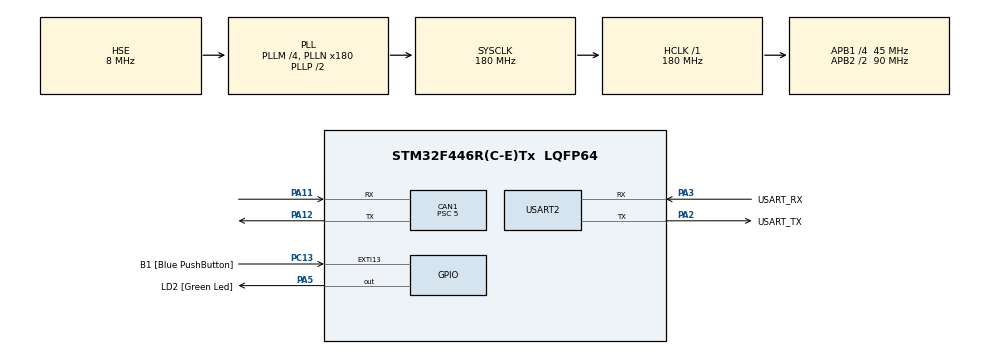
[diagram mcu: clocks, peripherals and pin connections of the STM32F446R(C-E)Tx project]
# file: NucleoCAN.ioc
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CAN1.BS1=CAN_BS1_7TQ
CAN1.CalculateTimeQuantum=111.11111111111111
CAN1.Prescaler=5
Mcu.Family=STM32F4
Mcu.Name=STM32F446R(C-E)Tx
Mcu.Package=LQFP64
NVIC.CAN1_RX0_IRQn=true\:0\:0\:false\:false\:true\:true\:true
NVIC.PriorityGroup=NVIC_PRIORITYGROUP_0
PA11.Mode=Master
PA11.Signal=CAN1_RX
PA12.Mode=Master
PA12.Signal=CAN1_TX
PA13.GPIO_Label=TMS
PA13.Mode=Serial_Wire
PA13.Signal=SYS_JTMS-SWDIO
PA14.GPIO_Label=TCK
PA14.Mode=Serial_Wire
PA14.Signal=SYS_JTCK-SWCLK
PA2.GPIO_Label=USART_TX
PA2.Mode=Asynchronous
PA2.Signal=USART2_TX
PA3.GPIO_Label=USART_RX
PA3.Mode=Asynchronous
PA3.Signal=USART2_RX
PA5.GPIO_Label=LD2 [Green Led]
PA5.Signal=GPIO_Output
PB3.GPIO_Label=SWO
PB3.Signal=SYS_JTDO-SWO
PC13.GPIO_Label=B1 [Blue PushButton]
PC13.GPIO_ModeDefaultEXTI=GPIO_MODE_IT_FALLING
PC13.Signal=GPXTI13
PC14-OSC32_IN.Mode=LSE-External-Oscillator
PC14-OSC32_IN.Signal=RCC_OSC32_IN
PC15-OSC32_OUT.Mode=LSE-External-Oscillator
PC15-OSC32_OUT.Signal=RCC_OSC32_OUT
PH0-OSC_IN.Mode=HSE-External-Oscillator
PH0-OSC_IN.Signal=RCC_OSC_IN
PH1-OSC_OUT.Mode=HSE-External-Oscillator
PH1-OSC_OUT.Signal=RCC_OSC_OUT
ProjectManager.HeapSize=0x200
ProjectManager.StackSize=0x400
ProjectManager.TargetToolchain=MDK-ARM V5.27
RCC.48MHZClocksFreq_Value=84000000
RCC.AHBFreq_Value=180000000
RCC.APB1CLKDivider=RCC_HCLK_DIV4
RCC.APB1Freq_Value=45000000
RCC.APB1TimFreq_Value=90000000
RCC.APB2CLKDivider=RCC_HCLK_DIV2
RCC.APB2Freq_Value=90000000
RCC.APB2TimFreq_Value=180000000
RCC.CortexFreq_Value=180000000
RCC.FLatency-AdvancedSettings=FLASH_LATENCY_5
RCC.HCLKFreq_Value=180000000
RCC.HSE_VALUE=8000000
RCC.HSI_VALUE=16000000
RCC.PLLM=4
RCC.PLLN=180
RCC.PLLSourceVirtual=RCC_PLLSOURCE_HSE
RCC.SYSCLKFreq_VALUE=180000000
RCC.SYSCLKSource=RCC_SYSCLKSOURCE_PLLCLK
RCC.USBFreq_Value=180000000
RCC.VCOOutputFreq_Value=360000000
USART2.VirtualMode=VM_ASYNC
board=NUCLEO-F446RE

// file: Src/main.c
/* USER CODE BEGIN Header */
/**
  ******************************************************************************
  * @file           : main.c
  * @brief          : Main program body
  ******************************************************************************
  * @attention
  *
  * <h2><center>&copy; Copyright (c) 2021 STMicroelectronics.
  * All rights reserved.</center></h2>
  *
  * This software component is licensed by ST under BSD 3-Clause license,
  * the "License"; You may not use this file except in compliance with the
  * License. You may obtain a copy of the License at:
  *                        opensource.org/licenses/BSD-3-Clause
  *
  ******************************************************************************
  */
/* USER CODE END Header */
#include "main.h"

/* USER CODE BEGIN Includes */

#include <string.h>

/* USER CODE END Includes */

CAN_HandleTypeDef hcan1;

UART_HandleTypeDef huart2;

/* USER CODE BEGIN PV */

CAN_TxHeaderTypeDef TxHeader;
CAN_RxHeaderTypeDef RxHeader;
uint8_t TxData[8]; // = {0,1,2,3,4,5,6,7};
uint8_t RxData[8];
uint32_t TxMailbox;
CAN_FilterTypeDef sFilterConfig;

/* USER CODE END PV */

void SystemClock_Config(void);
static void MX_GPIO_Init(void);
static void MX_USART2_UART_Init(void);
static void MX_CAN1_Init(void);

/* USER CODE BEGIN 0 */
#include <stdio.h>

// for printf
//extern UART_HandleTypeDef huart2;
int fputc(int ch, FILE *f)
{
  HAL_UART_Transmit(&huart2, (uint8_t *)&ch, 1, 0xFFFF);
  return ch;
}

// to interrupt when data receive
void HAL_CAN_RxFifo0MsgPendingCallback(CAN_HandleTypeDef *hcan)
{
  /* Get RX message */
  HAL_CAN_GetRxMessage(&hcan1, CAN_RX_FIFO0, &RxHeader, RxData);
  // if (RxHeader.ExtId == 0x541) // for detecting Input identifier without Filtering
  // {
  memcpy(TxData, RxData, 8);
  HAL_CAN_AddTxMessage(&hcan1, &TxHeader, TxData, &TxMailbox);
  HAL_GPIO_TogglePin(LD2_GPIO_Port, LD2_Pin); // for detect data receive
  // }
  /* Reception Error */
}

/* USER CODE END 0 */

int main(void)
{

  /* MCU Configuration--------------------------------------------------------*/

  /* Reset of all peripherals, Initializes the Flash interface and the Systick. */
  HAL_Init();

  /* Configure the system clock */
  SystemClock_Config();

  /* Initialize all configured peripherals */
  MX_GPIO_Init();
  MX_USART2_UART_Init();
  MX_CAN1_Init();
  /* USER CODE BEGIN 2 */

  // initialize filtering
  sFilterConfig.FilterBank = 1;                       // value between 0 to 13 for JUST Master Mode (CAN1)
  sFilterConfig.FilterMode = CAN_FILTERMODE_IDLIST;   // for filtering Identifiers
  sFilterConfig.FilterScale = CAN_FILTERSCALE_32BIT;  // for Scaling filtering (if use EXTENDED CAN this must be 32BIT)
  sFilterConfig.FilterIdHigh = (0x541) << 5;          // First Identifier MSB value for receiving in IDLIST Mode for 32BIT Scaling
  sFilterConfig.FilterIdLow = 0x00;                   // First Identifier LSB value for receiving in IDLIST Mode for 32BIT Scaling
  sFilterConfig.FilterMaskIdHigh = 0x00;              // Second Identifier MSB value for receiving in IDLIST Mode for 32BIT Scaling
  sFilterConfig.FilterMaskIdLow = 0x00;               // Second Identifier LSB value for receiving in IDLIST Mode for 32BIT Scaling
  sFilterConfig.FilterFIFOAssignment = CAN_RX_FIFO0;  // specify FIFO0 or FIFO1
  sFilterConfig.FilterActivation = CAN_FILTER_ENABLE; // Enable filtering
  // sFilterConfig.SlaveStartFilterBank = 14;            // DOES NOT MATTER FOR JUST MASTER MODE (CAN1)

  // // Receiving header parameters.
  // // RxHeader.StdId = 0x541; // Address to receive
  // RxHeader.ExtId = 0x541; // Address to receive
  // RxHeader.RTR = CAN_RTR_DATA;
  // // RxHeader.IDE = CAN_ID_STD;
  // RxHeader.IDE = CAN_ID_EXT;
  // RxHeader.DLC = 8;

  // Transmitting header parameters.
  TxHeader.StdId = 0x123;      // Identifier to sent In Standard Frame
  // TxHeader.ExtId = 0x123;      // Identifier to sent In Extended Frame
  TxHeader.RTR = CAN_RTR_DATA; // Specify the first type of Frame : DATA, REMOTE - DATA Chosen
  TxHeader.IDE = CAN_ID_STD;   // Specify the second type of Frame : Standard, Extended - Standard Chosen
  // TxHeader.IDE = CAN_ID_STD; // Specify the second type of Frame : Standard, Extended - Extended Chosen
  TxHeader.DLC = 8;          // Specify the number of Data (in Bytes), Between 0 to 8
  TxHeader.TransmitGlobalTime = DISABLE;

  // Applying configurations and Start CAN
  HAL_CAN_ConfigFilter(&hcan1, &sFilterConfig);
  HAL_CAN_Start(&hcan1);
  HAL_CAN_ActivateNotification(&hcan1, CAN_IT_RX_FIFO0_MSG_PENDING); // this function works like this :	HAL_CAN_Receive_IT(&hcan1, CAN_FIFO0) ;

  /* USER CODE END 2 */

  /* Infinite loop */
  while (1)
  {

  }
}

void SystemClock_Config(void)
{
  RCC_OscInitTypeDef RCC_OscInitStruct = {0};
  RCC_ClkInitTypeDef RCC_ClkInitStruct = {0};

  /** Configure the main internal regulator output voltage
  */
  __HAL_RCC_PWR_CLK_ENABLE();
  __HAL_PWR_VOLTAGESCALING_CONFIG(PWR_REGULATOR_VOLTAGE_SCALE1);
  /** Initializes the RCC Oscillators according to the specified parameters
  * in the RCC_OscInitTypeDef structure.
  */
  RCC_OscInitStruct.OscillatorType = RCC_OSCILLATORTYPE_HSE;
  RCC_OscInitStruct.HSEState = RCC_HSE_ON;
  RCC_OscInitStruct.PLL.PLLState = RCC_PLL_ON;
  RCC_OscInitStruct.PLL.PLLSource = RCC_PLLSOURCE_HSE;
  RCC_OscInitStruct.PLL.PLLM = 4;
  RCC_OscInitStruct.PLL.PLLN = 180;
  RCC_OscInitStruct.PLL.PLLP = RCC_PLLP_DIV2;
  RCC_OscInitStruct.PLL.PLLQ = 2;
  RCC_OscInitStruct.PLL.PLLR = 2;
  if (HAL_RCC_OscConfig(&RCC_OscInitStruct) != HAL_OK)
  {
    Error_Handler();
  }
  /** Activate the Over-Drive mode
  */
  if (HAL_PWREx_EnableOverDrive() != HAL_OK)
  {
    Error_Handler();
  }
  /** Initializes the CPU, AHB and APB buses clocks
  */
  RCC_ClkInitStruct.ClockType = RCC_CLOCKTYPE_HCLK | RCC_CLOCKTYPE_SYSCLK | RCC_CLOCKTYPE_PCLK1 | RCC_CLOCKTYPE_PCLK2;
  RCC_ClkInitStruct.SYSCLKSource = RCC_SYSCLKSOURCE_PLLCLK;
  RCC_ClkInitStruct.AHBCLKDivider = RCC_SYSCLK_DIV1;
  RCC_ClkInitStruct.APB1CLKDivider = RCC_HCLK_DIV4;
  RCC_ClkInitStruct.APB2CLKDivider = RCC_HCLK_DIV2;

  if (HAL_RCC_ClockConfig(&RCC_ClkInitStruct, FLASH_LATENCY_5) != HAL_OK)
  {
    Error_Handler();
  }
}

static void MX_CAN1_Init(void)
{

  hcan1.Instance = CAN1;
  hcan1.Init.Prescaler = 5;
  hcan1.Init.Mode = CAN_MODE_NORMAL;
  hcan1.Init.SyncJumpWidth = CAN_SJW_1TQ;
  hcan1.Init.TimeSeg1 = CAN_BS1_7TQ;
  hcan1.Init.TimeSeg2 = CAN_BS2_1TQ;
  hcan1.Init.TimeTriggeredMode = DISABLE;
  hcan1.Init.AutoBusOff = DISABLE;
  hcan1.Init.AutoWakeUp = DISABLE;
  hcan1.Init.AutoRetransmission = DISABLE;
  hcan1.Init.ReceiveFifoLocked = DISABLE;
  hcan1.Init.TransmitFifoPriority = DISABLE;
  if (HAL_CAN_Init(&hcan1) != HAL_OK)
  {
    Error_Handler();
  }
}

static void MX_USART2_UART_Init(void)
{

  huart2.Instance = USART2;
  huart2.Init.BaudRate = 115200;
  huart2.Init.WordLength = UART_WORDLENGTH_8B;
  huart2.Init.StopBits = UART_STOPBITS_1;
  huart2.Init.Parity = UART_PARITY_NONE;
  huart2.Init.Mode = UART_MODE_TX_RX;
  huart2.Init.HwFlowCtl = UART_HWCONTROL_NONE;
  huart2.Init.OverSampling = UART_OVERSAMPLING_16;
  if (HAL_UART_Init(&huart2) != HAL_OK)
  {
    Error_Handler();
  }
}

static void MX_GPIO_Init(void)
{
  GPIO_InitTypeDef GPIO_InitStruct = {0};

  /* GPIO Ports Clock Enable */
  __HAL_RCC_GPIOC_CLK_ENABLE();
  __HAL_RCC_GPIOH_CLK_ENABLE();
  __HAL_RCC_GPIOA_CLK_ENABLE();
  __HAL_RCC_GPIOB_CLK_ENABLE();

  /*Configure GPIO pin Output Level */
  HAL_GPIO_WritePin(LD2_GPIO_Port, LD2_Pin, GPIO_PIN_RESET);

  /*Configure GPIO pin : B1_Pin */
  GPIO_InitStruct.Pin = B1_Pin;
  GPIO_InitStruct.Mode = GPIO_MODE_IT_FALLING;
  GPIO_InitStruct.Pull = GPIO_NOPULL;
  HAL_GPIO_Init(B1_GPIO_Port, &GPIO_InitStruct);

  /*Configure GPIO pin : LD2_Pin */
  GPIO_InitStruct.Pin = LD2_Pin;
  GPIO_InitStruct.Mode = GPIO_MODE_OUTPUT_PP;
  GPIO_InitStruct.Pull = GPIO_NOPULL;
  GPIO_InitStruct.Speed = GPIO_SPEED_FREQ_LOW;
  HAL_GPIO_Init(LD2_GPIO_Port, &GPIO_InitStruct);
}

void Error_Handler(void)
{
}

/************************ (C) COPYRIGHT STMicroelectronics *****END OF FILE****/
